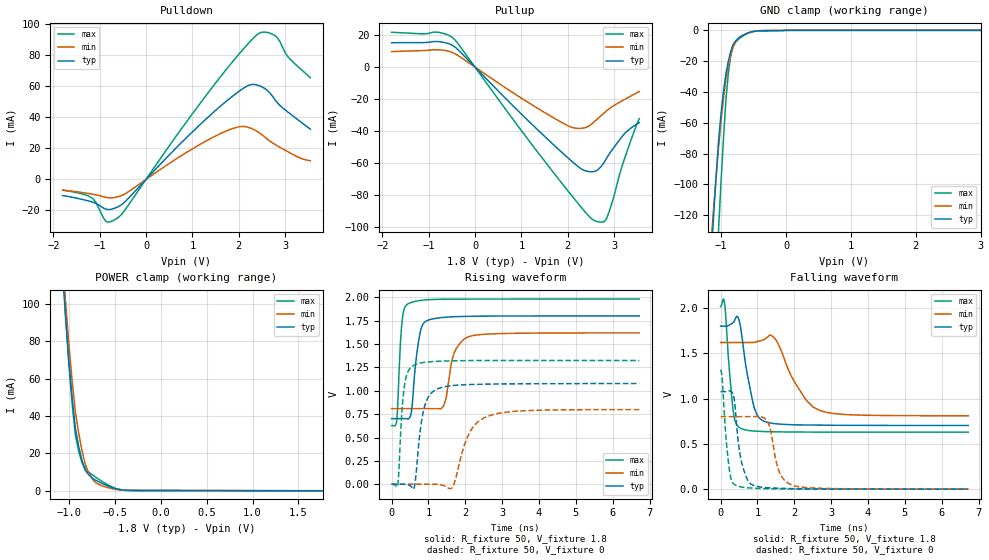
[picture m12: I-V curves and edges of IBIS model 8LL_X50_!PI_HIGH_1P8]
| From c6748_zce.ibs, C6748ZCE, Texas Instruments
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|   Model Cell 8LL_X50_!PI_HIGH_1P8
|BC1833DV40CTPBFZ_!PI_HIGH_1P8
[Model]   8LL_X50_!PI_HIGH_1P8
Model_type   I/O
Polarity   Non-Inverting
Enable   Active-Low
Vinl =  0.63
Vinh =  1.17
Cref =  15pF
Rref =  100.00M
Vref =  0V
Vmeas =  0.9
C_comp   2.232809p   2.073051p   2.295852p
[Model Spec]
Vinl   0.63   0.567   0.693
Vinh   1.17   1.053   1.287
[Temperature Range]   25   125   -40
[Voltage Range]   1.8   1.62   1.98
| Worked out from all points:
|   slope of the pulldown table from 0 to 0.27 V, typ, clamps not added: 31.4 ohm
|   slope of the pullup table from 0 to 0.27 V, typ, clamps not added: 33.4 ohm
|   GND clamp passes 1 mA (typ) near -0.53 V on its own axis
|   POWER clamp passes 1 mA (typ) near -0.49 V on its own axis
|   rising waveform, R_fixture 50, V_fixture 1.8: 20-80 % time 180ps typ, 264ps min, 104ps max; typ from 0.703 V to 1.8 V
|   rising waveform, R_fixture 50, V_fixture 0: 20-80 % time 231ps typ, 464ps min, 139ps max; typ from 0.003 V to 1.08 V
|   falling waveform, R_fixture 50, V_fixture 1.8: 20-80 % time 285ps typ, 638ps min, 162ps max; typ from 1.8 V to 0.705 V
|   falling waveform, R_fixture 50, V_fixture 0: 20-80 % time 222ps typ, 265ps min, 153ps max; typ from 1.08 V to 0.003 V
[POWER_clamp]
|   voltage   I(typ)   I(min)   I(max)
-1.8V     842.3mA    869.2mA    912.6mA
-1.073V   123.5mA    130.8mA    128.8mA
-1.036V   94.69mA    102.8mA    96.31mA
-1V       70.7mA     79.63mA    69.41mA
-963.6mV  50.3mA     59.44mA    47.21mA
-927.3mV  33.48mA    42.27mA    29.73mA
-854.5mV  15.97mA    21.24mA    14.89mA
-818.2mV  10.72mA    13.8mA     11.42mA
-709.1mV  5.624mA    4.312mA    7.236mA
-527.3mV  1.606mA    1.01mA     1.915mA
-381.8mV  142.3uA    117.5uA    127.8uA
1.764V    -143.5uA   -80.17uA   -225.9uA
[Pulldown]
|   voltage   I(typ)   I(min)   I(max)
-1.8V     -10.49mA   -6.992mA   -6.878mA
-1.145V   -14.77mA   -9.642mA   -12.54mA
-872.7mV  -19.18mA   -11.58mA   -26.88mA
-600mV    -17.64mA   -11.15mA   -24.61mA
1.636V    48.04mA    29.95mA    67.37mA
2.073V    58.21mA    34.18mA    83.2mA
2.291V    61.28mA    32.65mA    90.41mA
2.455V    60.33mA    29.78mA    94.55mA
2.618V    57.37mA    25.94mA    94.82mA
2.782V    51.43mA    22.55mA    92.84mA
3.055V    43.59mA    17.92mA    79.47mA
3.545V    32.43mA    11.97mA    65.61mA
[Pullup]
|   voltage   I(typ)   I(min)   I(max)
-1.8V     15.27mA    9.71mA     21.85mA
-818.2mV  16.05mA    10.88mA    21.94mA
-490.9mV  13.72mA    9.223mA    18.66mA
1.036V    -30.45mA   -20.11mA   -41.15mA
2.018V    -57.22mA   -36.91mA   -78.08mA
2.345V    -64.63mA   -38.19mA   -89.73mA
2.618V    -65.01mA   -33.11mA   -96.69mA
2.782V    -59.96mA   -28.87mA   -97.07mA
2.836V    -57.32mA   -27.51mA   -95.25mA
3V        -50.25mA   -24.09mA   -80.87mA
3.218V    -42.03mA   -20.43mA   -58.16mA
3.545V    -34.78mA   -15.26mA   -32.29mA
[GND_clamp]
|   voltage   I(typ)   I(min)   I(max)
-1.8V     -697.8mA   -553.3mA   -1.259A
-1.145V   -140.7mA   -131.7mA   -248.4mA
-1.109V   -115.2mA   -111.7mA   -203.4mA
-1.036V   -69.7mA    -74.11mA   -126mA
-963.6mV  -39.4mA    -44.23mA   -69.84mA
-927.3mV  -28.09mA   -31.91mA   -45.55mA
-890.9mV  -20.27mA   -23.39mA   -28.66mA
-854.5mV  -14.02mA   -16.45mA   -16.77mA
-818.2mV  -9.337mA   -11.08mA   -9.893mA
-672.7mV  -3.466mA   -3.226mA   -3.973mA
-18.18mV  0A         0A         0A
3.6V      0A         0A         0A
[Ramp]
| variable   typ   min   max
dV/dt_f  0.7228632/0.2988275n  0.5351467/0.6649064n  0.8824963/0.1681357n
dV/dt_r  0.6781183/0.2302543n  0.5121244/0.4699847n  0.8109243/0.1378445n
R_load = 50
[Rising Waveform]
R_fixture = 50
V_fixture = 1.8
V_fixture_min = 1.62
V_fixture_max = 1.98
|   time   V(typ)   V(min)   V(max)
0s        703.3mV    810mV      628.9mV
140ps     703.3mV    810mV      687.8mV
280ps     703mV      810mV      1.729V
450ps     698.7mV    810mV      1.93V
770ps     1.614V     810mV      1.965V
980ps     1.754V     809.9mV    1.973V
1.41ns    1.784V     837.4mV    1.978V
1.69ns    1.791V     1.399V     1.979V
2.12ns    1.796V     1.582V     1.98V
6.72ns    1.8V       1.619V     1.98V
[Rising Waveform]
R_fixture = 50
V_fixture = 0
V_fixture_min = 0
V_fixture_max = 0
|   time   V(typ)   V(min)   V(max)
0s        2.801mV    1.768mV    3.339mV
170ps     2.8mV      1.771mV    -3.328mV
340ps     2.308mV    1.768mV    1.033V
620ps     -26.36mV   1.768mV    1.276V
880ps     810.8mV    1.781mV    1.304V
1.26ns    1.023V     2.064mV    1.316V
1.62ns    1.055V     -46.3mV    1.32V
2.12ns    1.067V     557.5mV    1.323V
2.7ns     1.072V     741.4mV    1.324V
6.72ns    1.078V     799.4mV    1.324V
[Falling Waveform]
R_fixture = 50
V_fixture = 1.8
V_fixture_min = 1.62
V_fixture_max = 1.98
|   time   V(typ)   V(min)   V(max)
0s        1.8V       1.62V      2.017V
100ps     1.8V       1.62V      2.077V
340ps     1.84V      1.62V      872.8mV
540ps     1.795V     1.62V      675.2mV
910ps     905.3mV    1.622V     644.2mV
1.19ns    750.2mV    1.656V     638.1mV
1.48ns    724.8mV    1.661V     635.2mV
2.05ns    712.3mV    1.157V     632.8mV
2.7ns     708.8mV    869.1mV    632mV
6.72ns    705.4mV    812.5mV    631.5mV
[Falling Waveform]
R_fixture = 50
V_fixture = 0
V_fixture_min = 0
V_fixture_max = 0
|   time   V(typ)   V(min)   V(max)
0s        1.078V     802.6mV    1.32V
50ps      1.078V     802.6mV    1.189V
230ps     1.086V     802.6mV    246.7mV
400ps     890.1mV    802.6mV    49.24mV
570ps     300.4mV    802.6mV    26.54mV
910ps     41.77mV    802.7mV    13.71mV
1.26ns    18.92mV    762.2mV    7.961mV
1.62ns    12.26mV    167.1mV    5.443mV
1.97ns    8.7mV      42.58mV    4.522mV
6.72ns    2.861mV    3.137mV    3.973mV
